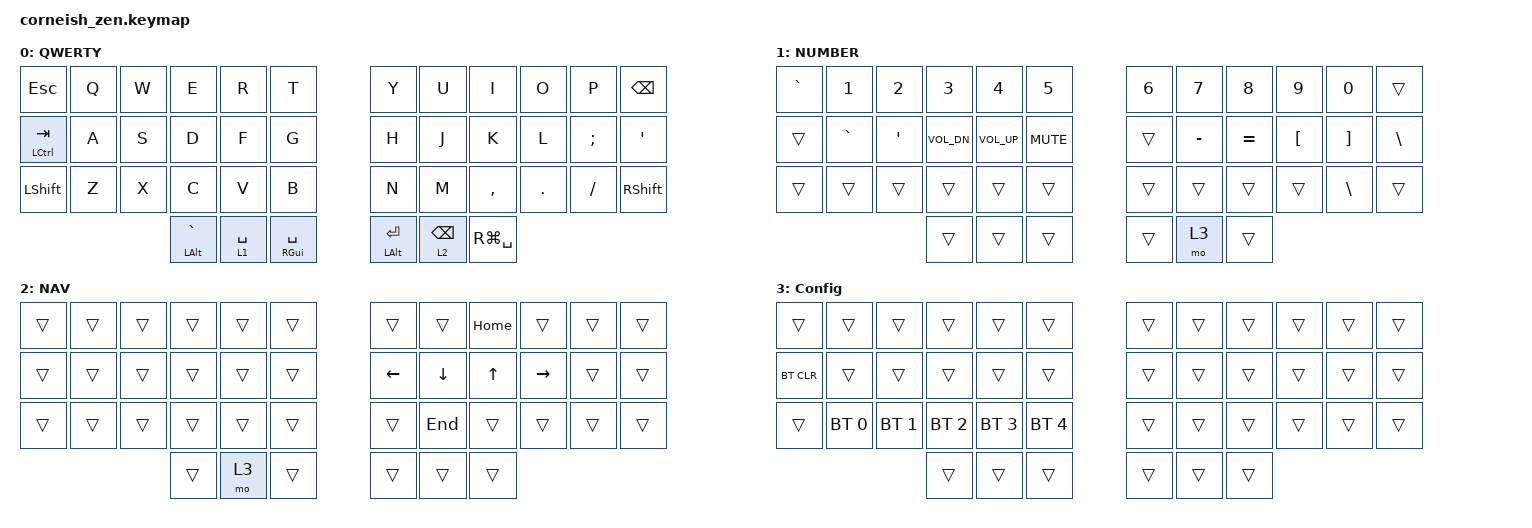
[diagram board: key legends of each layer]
#include <behaviors.dtsi>
#include <dt-bindings/zmk/keys.h>
#include <dt-bindings/zmk/bt.h>

/ {
  chosen {
    zmk,matrix_transform = &default_transform;
    //zmk,matrix_transform = &five_column_transform;
  };
};

/ {
    keymap {
        compatible = "zmk,keymap";

        default_layer {
            label = "QWERTY";
            bindings = <
&kp ESC        &kp Q  &kp W  &kp E           &kp R        &kp T             &kp Y         &kp U       &kp I          &kp O    &kp P     &kp BSPC
&mt LCTRL TAB  &kp A  &kp S  &kp D           &kp F        &kp G             &kp H         &kp J       &kp K          &kp L    &kp SEMI  &kp SQT
&kp LSHFT      &kp Z  &kp X  &kp C           &kp V        &kp B             &kp N         &kp M       &kp COMMA      &kp DOT  &kp FSLH  &kp RSHFT
                             &mt LALT GRAVE  &lt 1 SPACE  &mt RGUI SPACE    &mt LALT RET  &lt 2 BSPC  &kp RG(SPACE)
            >;
        };

        lower_layer {
            label = "NUMBER";
            bindings = <
&kp GRAVE  &kp N1     &kp N2            &kp N3        &kp N4        &kp N5        &kp N6  &kp N7     &kp N8     &kp N9    &kp N0         &trans
&trans     &kp GRAVE  &kp SINGLE_QUOTE  &kp C_VOL_DN  &kp C_VOL_UP  &kp C_MUTE    &trans  &kp MINUS  &kp EQUAL  &kp LBKT  &kp RBKT       &kp BSLH
&trans     &trans     &trans            &trans        &trans        &trans        &trans  &trans     &trans     &trans    &kp BACKSLASH  &trans
                                        &trans        &trans        &trans        &trans  &mo 3      &trans
            >;
        };

        raise_layer {
            label = "NAV";
            bindings = <
&trans  &trans  &trans  &trans  &trans  &trans    &trans    &trans    &kp HOME  &trans     &trans  &trans
&trans  &trans  &trans  &trans  &trans  &trans    &kp LEFT  &kp DOWN  &kp UP    &kp RIGHT  &trans  &trans
&trans  &trans  &trans  &trans  &trans  &trans    &trans    &kp END   &trans    &trans     &trans  &trans
                        &trans  &mo 3   &trans    &trans    &trans    &trans
            >;
        };

        config_layer {
            label = "Config";
            bindings = <
&trans      &trans        &trans        &trans        &trans        &trans          &trans  &trans  &trans  &trans  &trans  &trans
&bt BT_CLR  &trans        &trans        &trans        &trans        &trans          &trans  &trans  &trans  &trans  &trans  &trans
&trans      &bt BT_SEL 0  &bt BT_SEL 1  &bt BT_SEL 2  &bt BT_SEL 3  &bt BT_SEL 4    &trans  &trans  &trans  &trans  &trans  &trans
                                        &trans        &trans        &trans          &trans  &trans  &trans
            >;
        };
    };
};
